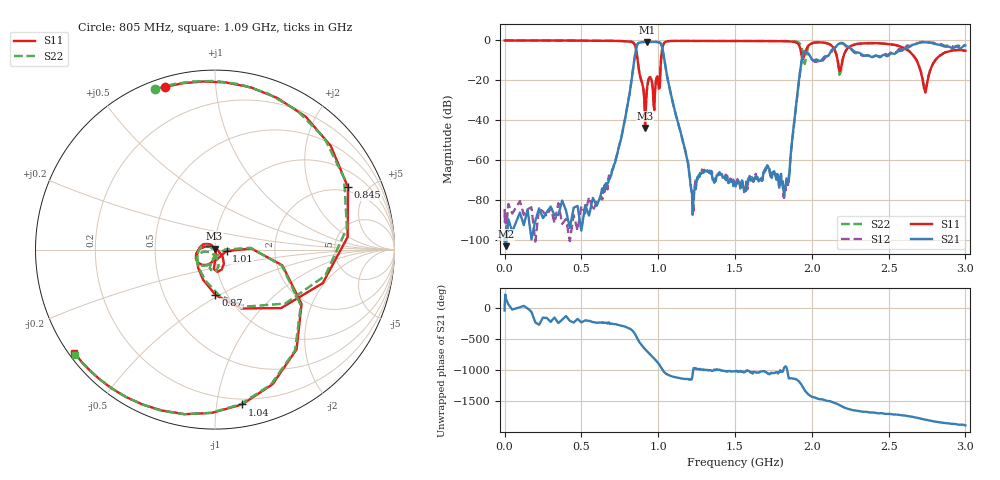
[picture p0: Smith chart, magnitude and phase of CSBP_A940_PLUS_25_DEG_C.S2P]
! Mini-Circuits
! S2P DATA File Format
! Type: BAND PASS FILTER
! Model: CSBP-A940+
! All S Parameters are in dB deg format
! TEST CONDITIONS: INPUT POWER = 0 dBm @ Temperature = + 25 deg C
! 401 Frequency points
# MHz S DB R 50
!FREQMAG(S11)PHS(S11)MAG(S21)PHS(S21)MAG(S12)PHS(S12)MAG(S22)PHS(S22)
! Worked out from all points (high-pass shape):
!   401 points, 300 kHz to 3 GHz, reference 50 ohm
!   highest |S21| = -0.69 dB at 925 MHz (marker M1); lowest = -103.1 dB at 10 MHz (marker M2)
!   |S21| within 3 dB of the highest: 857.9 MHz to 1.026 GHz (168.5 MHz wide, 17.9 % of centre); 2.62 GHz to 2.909 GHz (289.9 MHz wide, 10.5 % of centre)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
!   lowest |S11| = -43.9 dB at 915 MHz (marker M3), VSWR 1.01, Z = 49.8 + j0.602 ohm
!   |S11| at or under -10 dB: 866.8 MHz to 1.018 GHz (151.7 MHz wide, 16.1 % of centre); 2.168 GHz to 2.199 GHz (30.96 MHz wide, 1.42 % of centre); 2.682 GHz to 2.804 GHz (122.1 MHz wide, 4.45 % of centre)
!   |S22| runs from -38.5 to 0.0 dB; largest |S21 - S12| = 0.096
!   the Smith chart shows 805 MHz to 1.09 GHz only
!   S11 on the Smith chart (normalised r, x): 805 MHz: 0.04, +0.74; 845 MHz: 1.76, +3.70; 870 MHz: 0.88, -0.48; 1.01 GHz: 1.14, -0.02; 1.04 GHz: 0.16, -1.18; 1.09 GHz: 0.02, -0.33
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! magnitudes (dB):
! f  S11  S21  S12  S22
! 300 kHz  0.0  -100.6  -84.5  0.0
! 10 MHz  0.0  -103.1  -95.4  0.0
! 525 MHz  -0.1  -82.5  -86.7  -0.1
! 640 MHz  -0.2  -76.4  -78.8  -0.1
! 805 MHz  -0.5  -30.8  -30.6  -0.4
! 845 MHz  -1.7  -9.6  -9.4  -1.7
! 870 MHz  -11.9  -1.4  -1.4  -11.9
! 915 MHz  -43.9  -0.8  -0.7  -38.5
! 925 MHz  -26.2  -0.7  -0.7  -26.0
! 1.005 GHz  -23.9  -0.9  -0.9  -24.7
! 1.01 GHz  -23.8  -1.0  -1.0  -25.3
! 1.04 GHz  -1.1  -9.4  -9.5  -1.2
! 1.09 GHz  -0.3  -29.4  -29.5  -0.2
! 1.225 GHz  -0.2  -87.4  -84.2  -0.2
! 1.295 GHz  -0.2  -66.3  -65.8  -0.2
! 1.505 GHz  -0.3  -72.9  -73.2  -0.2
! 1.825 GHz  -0.4  -74.3  -74.9  -0.3
! 1.94 GHz  -9.6  -7.9  -7.6  -5.6
! 2.01 GHz  -1.2  -10.0  -10.2  -1.2
! 2.51 GHz  -1.9  -6.8  -6.4  -1.8
! 2.74 GHz  -26.1  -0.9  -0.8  -24.7
! 3 GHz  -5.2  -2.5  -2.1  -5.1
